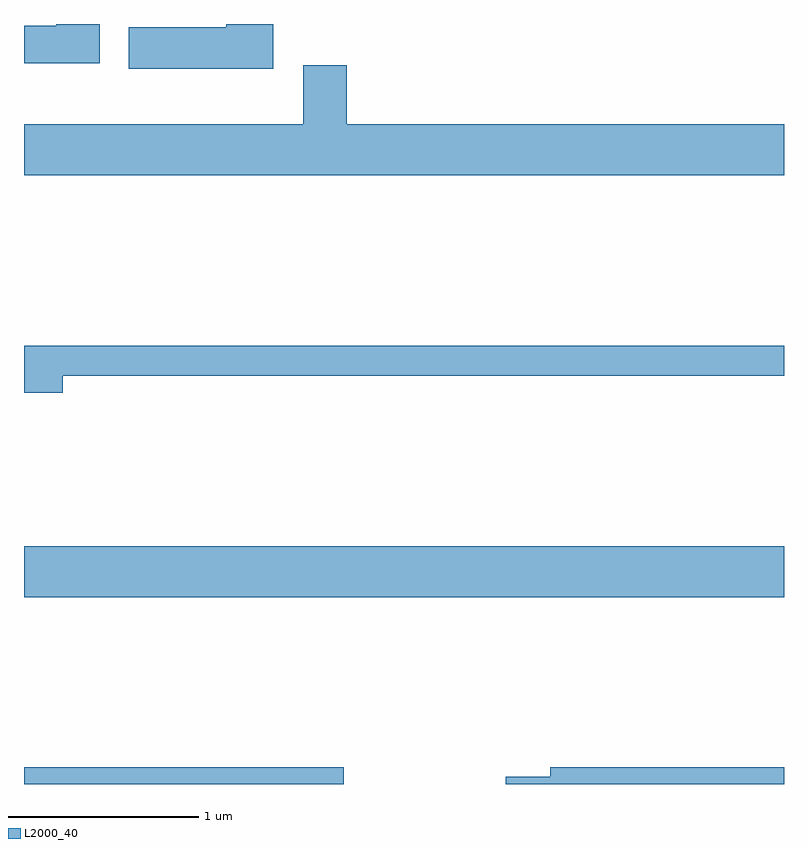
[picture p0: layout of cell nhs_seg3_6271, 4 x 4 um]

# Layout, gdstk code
import gdstk
lib = gdstk.Library(unit=1e-6, precision=1e-09)
def R(c, l, rs):  # rectangles x0, y0, x1, y1
    for r in rs: c.add(gdstk.rectangle(r[:2], r[2:], *l))
def P(c, l, *ps):  # polygons
    for p in ps: c.add(gdstk.Polygon(p, *l))
L2000_40 = (2000, 40)

nhs_seg3_6271 = lib.new_cell('nhs_seg3_6271')
R(nhs_seg3_6271, L2000_40, [(369.611,1153.892,371.294,1153.979), (369.611,1154.876,373.611,1155.144)])
P(nhs_seg3_6271, L2000_40, [(370.924,1157.892),(370.676,1157.892),(370.676,1157.874),(370.161,1157.874),(370.161,1157.656),(370.924,1157.656)],
  [(370.009,1157.892),(369.781,1157.892),(369.781,1157.884),(369.611,1157.884),(369.611,1157.686),(370.009,1157.686)],
  [(373.611,1157.364),(371.309,1157.364),(371.309,1157.674),(371.081,1157.674),(371.081,1157.364),(369.611,1157.364),(369.611,1157.096),(373.611,1157.096)],
  [(369.814,1156.041),(373.611,1156.041),(373.611,1156.199),(369.611,1156.199),(369.611,1155.951),(369.814,1155.951)],
  [(373.611,1153.979),(372.381,1153.979),(372.381,1153.929),(372.146,1153.929),(372.146,1153.892),(373.611,1153.892)])

lib.write_gds('nhs_seg3_6271.gds')
